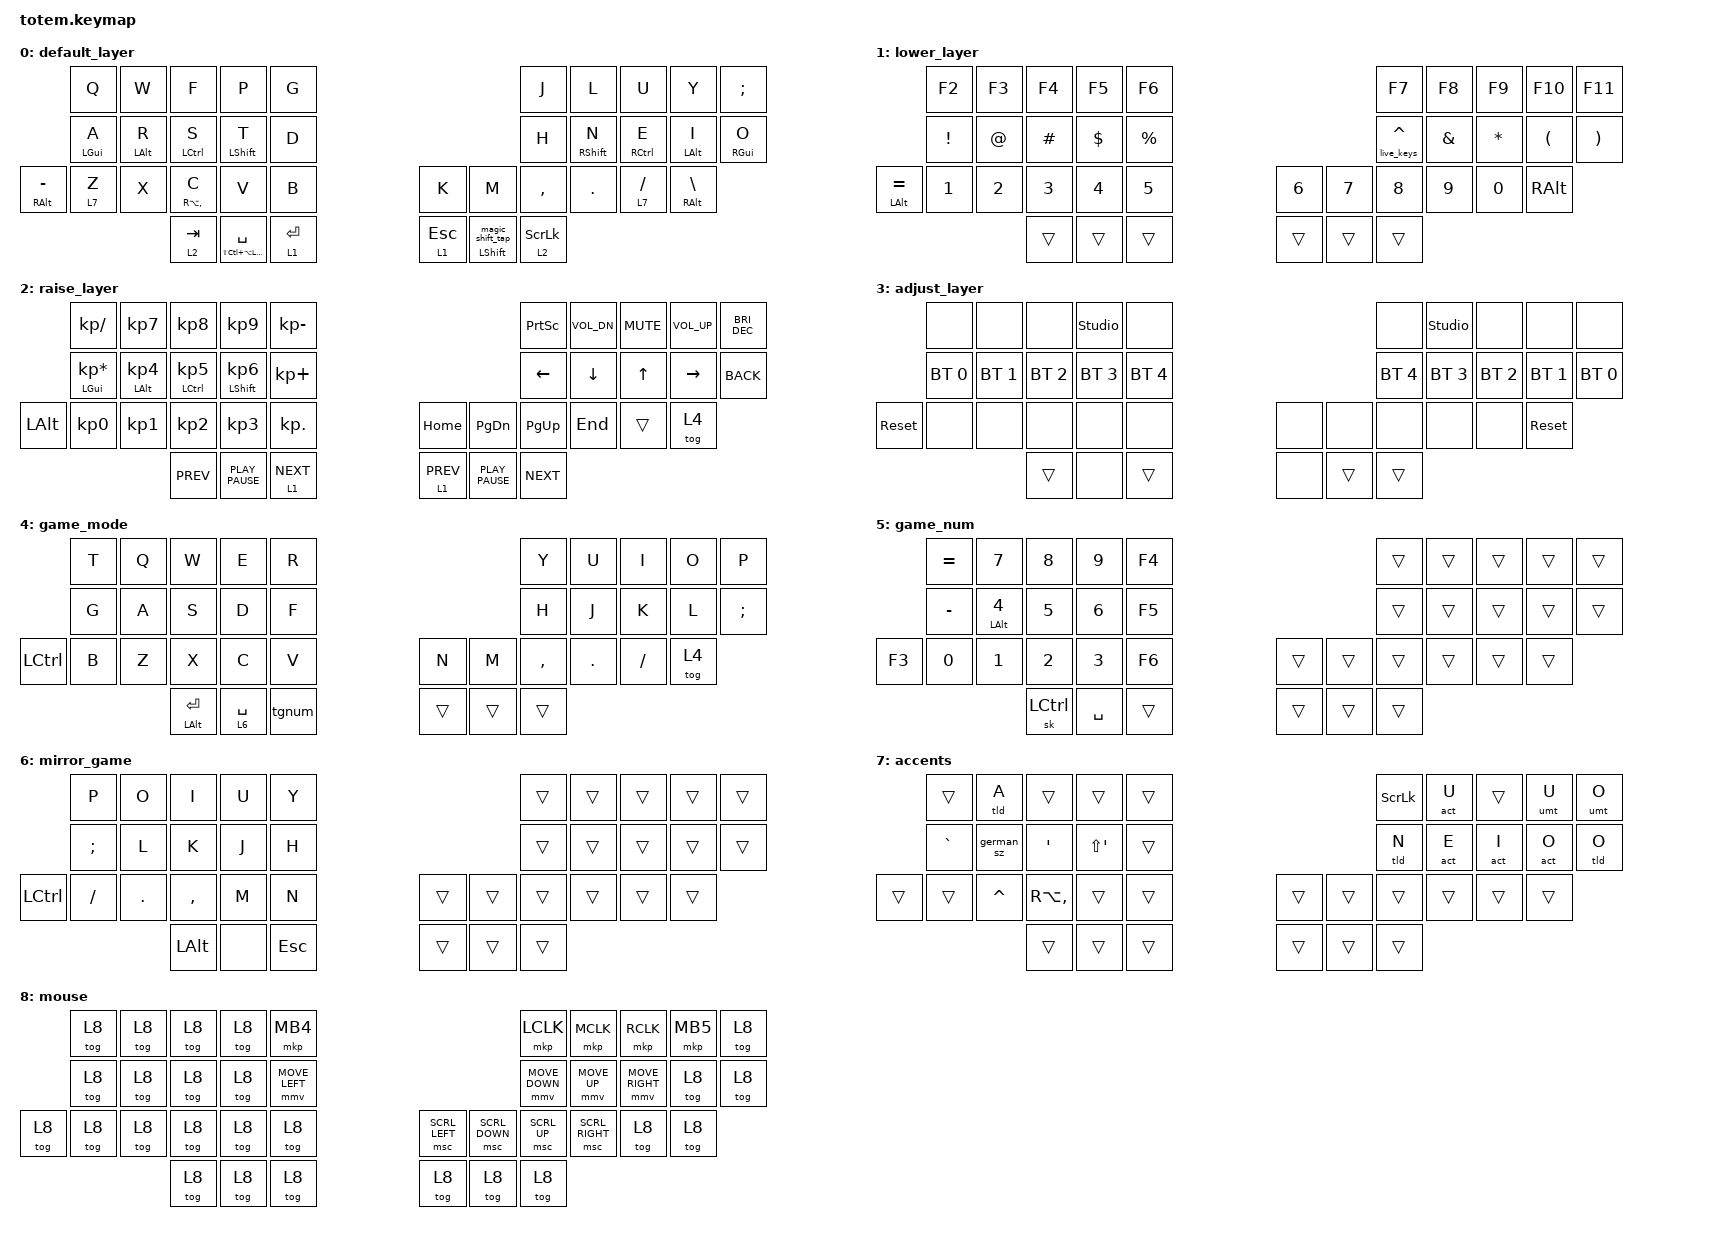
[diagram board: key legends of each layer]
#include <behaviors.dtsi>
#include <dt-bindings/zmk/bt.h>
#include <dt-bindings/zmk/keys.h>
#include <dt-bindings/zmk/pointing.h>
#include <dt-bindings/zmk/outputs.h>

#define DEF 0
#define LWR 1
#define RSE 2
#define ADJ 3
#define GAME 4
#define GAME_NUM 5
#define MIRROR_GAME 6
#define ACCENTS 7
#define MOUSE 8

#define QUICK_TAP_MS 175

#define MAGIC_SHIFT &magic_shift LSHFT 0

&lt {
    tapping-term-ms = <200>;
    quick-tap-ms = <130>;
    require-prior-idle-ms = <150>;
    flavor = "balanced";
    retro-tap;
};

&mt {
    tapping-term-ms = <180>;
    quick-tap-ms = <130>;
    require-prior-idle-ms = <120>;
    flavor = "balanced";
};

&sk { quick-release; };

/ {
    conditional_layers {
        compatible = "zmk,conditional-layers";

        tri-layer {
            if-layers = <1 2>;
            then-layer = <3>;
        };
    };

    combos {
        compatible = "zmk,combos";

        bksp {
            timeout-ms = <30>;
            require-prior-idle-ms = <80>;
            bindings = <&combo_bksp LC(BSPC) BSPC>;
            key-positions = <5 6>;
        };

        del {
            timeout-ms = <30>;
            require-prior-idle-ms = <80>;
            bindings = <&combo_bksp LC(DELETE) DELETE>;
            key-positions = <6 7>;
        };

        escape {
            timeout-ms = <18>;
            require-prior-idle-ms = <80>;
            bindings = <&kp ESC>;
            key-positions = <16 17>;
        };

        toggle_mouse {
            timeout-ms = <30>;
            require-prior-idle-ms = <80>;
            bindings = <&tog 8>;
            key-positions = <11 12>;
        };

        leader {
            timeout-ms = <18>;
            require-prior-idle-ms = <80>;
            bindings = <&kp LS(LC(LA(LG(F12))))>;
            key-positions = <17 18>;
        };

        cut {
            bindings = <&kp LC(X)>;
            key-positions = <21 22>;
        };

        copy {
            bindings = <&kp LC(C)>;
            key-positions = <22 23>;
        };

        paste {
            bindings = <&kp LC(V)>;
            key-positions = <23 24>;
        };

        caps {
            bindings = <&kp CAPSLOCK>;
            key-positions = <13 16>;
        };

        ctrl_shift_t {
            bindings = <&kp LC(LS(T))>;
            key-positions = <12 13>;
        };

        plus_minus_combo {
            timeout-ms = <30>;
            key-positions = <10 20>;
            bindings = <&plus_minus>;
        };
    };

    macros {
        plus_minus: plus_minus {
            compatible = "zmk,behavior-macro";
            #binding-cells = <0>;
            bindings = <&kp SCROLLLOCK &kp PLUS &kp MINUS>;
        };

        live_keys: live_keys {
            compatible = "zmk,behavior-macro-one-param";
            #binding-cells = <1>;
            bindings = <&macro_param_1to1 &kp MACRO_PLACEHOLDER &kp SPACE>;
        };

        act: act {
            compatible = "zmk,behavior-macro-one-param";
            #binding-cells = <1>;
            bindings = <&ans &macro_param_1to1 &kp MACRO_PLACEHOLDER>;
        };

        grv: grv {
            compatible = "zmk,behavior-macro-one-param";
            #binding-cells = <1>;
            bindings = <&gns &macro_param_1to1 &kp MACRO_PLACEHOLDER>;
        };

        tld: tld {
            compatible = "zmk,behavior-macro-one-param";
            #binding-cells = <1>;
            bindings = <&kp TILDE &macro_param_1to1 &kp MACRO_PLACEHOLDER>;
        };

        umt: umt {
            compatible = "zmk,behavior-macro-one-param";
            #binding-cells = <1>;
            bindings = <&kp DQT &macro_param_1to1 &kp MACRO_PLACEHOLDER>;
        };

        german_sz: german_sz {
            compatible = "zmk,behavior-macro";
            #binding-cells = <0>;
            bindings = <&kp SCROLLLOCK &kp S &kp S>;
        };
    };

    behaviors {
        magic_shift: magic_shift {
            compatible = "zmk,behavior-hold-tap";
            #binding-cells = <2>;
            flavor = "balanced";
            tapping-term-ms = <200>;
            quick-tap-ms = <QUICK_TAP_MS>;
            bindings = <&kp>, <&magic_shift_tap>;
        };

        magic_shift_tap: magic_shift_tap {
            compatible = "zmk,behavior-mod-morph";
            #binding-cells = <0>;
            bindings = <&sk LSHFT>, <&capsword>;
            mods = <(MOD_LSFT)>;
        };

        capsword: capsword {
            compatible = "zmk,behavior-caps-word";
            #binding-cells = <0>;
            continue-list = <SEMICOLON MINUS UNDERSCORE BACKSPACE A B C D E F G H I J K L M N O P Q R S T U V W X Y Z>;
        };

        altgr_accent: altgr_accent {
            compatible = "zmk,behavior-hold-tap";
            bindings = <&mo>, <&kp>;
            #binding-cells = <2>;
            tapping-term-ms = <150>;
            quick-tap-ms = <200>;
        };

        ans: acute_noshift {
            compatible = "zmk,behavior-mod-morph";
            #binding-cells = <0>;
            bindings = <&kp SQT>, <&kp SQT>;
            mods = <(MOD_LSFT|MOD_RSFT)>;
        };

        gns: grave_noshift {
            compatible = "zmk,behavior-mod-morph";
            #binding-cells = <0>;
            bindings = <&kp GRAVE>, <&kp GRAVE>;
            mods = <(MOD_LSFT|MOD_RSFT)>;
        };

        tgnum: toggle_or_quit_game_num {
            compatible = "zmk,behavior-tap-dance";
            #binding-cells = <0>;
            bindings = <&sl 5>, <&tog 5>;
        };

        combo_bksp: combo_backspace_ht {
            compatible = "zmk,behavior-hold-tap";
            #binding-cells = <2>;
            flavor = "tap-preferred";
            tapping-term-ms = <200>;
            bindings = <&kp>, <&kp>;
        };
    };

    keymap {
        compatible = "zmk,keymap";

        default_layer {
            bindings = <
                &kp Q           &kp W           &kp F            &kp P           &kp G              &kp J         &kp L              &kp U            &kp Y           &kp SEMICOLON
                &mt LEFT_GUI A  &mt LEFT_ALT R  &mt LCTRL S      &mt LEFT_SHIFT T  &kp D            &kp H         &mt RIGHT_SHIFT N  &mt RCTRL E      &mt LEFT_ALT I  &mt RIGHT_GUI O
&mt RIGHT_ALT MINUS  &lt 7 Z         &kp X           &mt RA(COMMA) C  &kp V         &kp B        &kp K         &kp M              &kp COMMA        &kp DOT         &altgr_accent 7 FSLH  &mt RIGHT_ALT BSLH
                                              &lt 2 TAB        &mt LS(LC(LA(LEFT_GUI))) SPACE  &lt 1 ENTER  &lt 1 ESCAPE  MAGIC_SHIFT        &lt 2 SCROLLLOCK
            >;
        };

        lower_layer {
            bindings = <
                &kp F2    &kp F3  &kp F4    &kp F5    &kp F6                                        &kp F7            &kp F8    &kp F9    &kp F10   &kp F11
                &kp EXCL  &kp AT  &kp HASH  &kp DLLR  &kp PRCNT                                     &live_keys CARET  &kp AMPS  &kp STAR  &kp LPAR  &kp RPAR
&mt LALT EQUAL  &kp N1    &kp N2  &kp N3    &kp N4    &kp N5                        &kp N6            &kp N7    &kp N8    &kp N9    &kp N0    &kp RALT
                                  &trans    &trans    &trans                        &trans    &trans    &trans
            >;
        };

        raise_layer {
            bindings = <
                &kp KP_SLASH              &kp KP_N7           &kp KP_N8        &kp KP_N9             &kp KP_MINUS  &kp PRINTSCREEN  &kp C_VOL_DN      &kp K_MUTE   &kp C_VOLUME_UP  &kp C_BRIGHTNESS_DEC
                &mt LEFT_GUI KP_MULTIPLY  &mt LEFT_ALT KP_N4  &mt LCTRL KP_N5  &mt LEFT_SHIFT KP_N6  &kp KP_PLUS   &kp LEFT         &kp DOWN          &kp UP       &kp RIGHT        &kp K_BACK
&kp LALT         &kp KP_N0                 &kp KP_N1           &kp KP_N2        &kp KP_N3             &kp KP_DOT    &kp HOME         &kp PAGE_DOWN     &kp PAGE_UP  &kp END          &trans                &tog 4
                                                               &kp K_PREV       &kp K_PLAY_PAUSE      &lt 1 K_NEXT  &lt 1 K_PREV     &kp K_PLAY_PAUSE  &kp K_NEXT
            >;
        };

        adjust_layer {
            bindings = <
                &none         &none         &none         &studio_unlock  &none         &none         &studio_unlock  &none         &none         &none
                &bt BT_SEL 0  &bt BT_SEL 1  &bt BT_SEL 2  &bt BT_SEL 3    &bt BT_SEL 4  &bt BT_SEL 4  &bt BT_SEL 3    &bt BT_SEL 2  &bt BT_SEL 1  &bt BT_SEL 0
&sys_reset   &none         &none         &none         &none           &none         &none         &none           &none         &none         &none         &sys_reset
                                         &trans        &none           &trans        &none         &trans          &trans
            >;
        };

        game_mode {
            bindings = <
                &kp T  &kp Q  &kp W    &kp E           &kp R        &kp Y   &kp U   &kp I      &kp O    &kp P
                &kp G  &kp A  &kp S    &kp D           &kp F        &kp H   &kp J   &kp K      &kp L    &kp SEMI
&kp LCTRL  &kp B  &kp Z  &kp X    &kp C           &kp V        &kp N   &kp M   &kp COMMA  &kp DOT  &kp FSLH  &tog 4
	                                  &mt LALT ENTER  &lt 6 SPACE  &tgnum  &trans  &trans     &trans
            >;
        };

        game_num {
            bindings = <
                &kp EQUAL     &kp N7                 &kp N8     &kp N9     &kp F4  &trans  &trans  &trans  &trans  &trans
                &kp MINUS     &mt LEFT_ALT NUMBER_4  &kp N5     &kp N6     &kp F5  &trans  &trans  &trans  &trans  &trans
&kp F3  &kp NUMBER_0  &kp N1                 &kp N2     &kp N3     &kp F6  &trans  &trans  &trans  &trans  &trans  &trans
                                             &sk LCTRL  &kp SPACE  &trans  &trans  &trans  &trans
            >;
        };

        mirror_game {
            bindings = <
                &kp P     &kp O    &kp I      &kp U  &kp Y    &trans  &trans  &trans  &trans  &trans
                &kp SEMI  &kp L    &kp K      &kp J  &kp H    &trans  &trans  &trans  &trans  &trans
&kp LEFT_CONTROL  &kp FSLH  &kp DOT  &kp COMMA  &kp M  &kp N    &trans  &trans  &trans  &trans  &trans  &trans
                                     &kp LALT   &none  &kp ESC  &trans  &trans  &trans
            >;
        };

        accents {
            bindings = <
                &trans     &tld A         &trans   &trans       &trans  &kp SCROLLLOCK  &act U  &trans  &umt U  &umt O
                &kp GRAVE  &german_sz     &kp SQT  &kp LS(SQT)  &trans  &tld N          &act E  &act I  &act O  &tld O
&trans     &trans  &kp CARET  &kp RA(COMMA)  &trans   &trans       &trans  &trans          &trans  &trans  &trans  &trans
                              &trans         &trans   &trans       &trans  &trans          &trans
            >;
        };

        mouse {
            bindings = <
                &tog 8	&tog 8	&tog 8	&tog 8	&mkp MB4        &mkp LCLK	&mkp MCLK	&mkp RCLK	&mkp MB5  &tog 8
                &tog 8	&tog 8	&tog 8	&tog 8	&mmv MOVE_LEFT	&mmv MOVE_DOWN	&mmv MOVE_UP	&mmv MOVE_RIGHT	&tog 8	  &tog 8
&tog 8  &tog 8	&tog 8	&tog 8	&tog 8	&tog 8	&msc SCRL_LEFT	&msc SCRL_DOWN	&msc SCRL_UP	&msc SCRL_RIGHT	&tog 8	  &tog 8
				&tog 8	&tog 8	&tog 8  &tog 8		&tog 8	&tog 8
            >;
        };
    };
};
